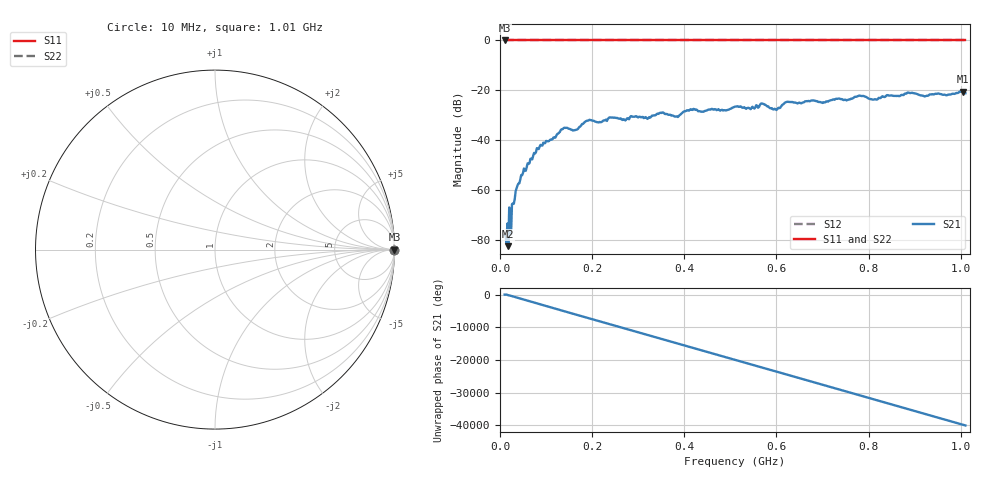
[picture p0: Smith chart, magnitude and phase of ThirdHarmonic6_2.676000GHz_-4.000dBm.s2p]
! 8/17/2025 6:15:27 AM
! C:\ANRITSUVNA\TEMP\TEMP.S2P
! CHANNEL.1
! TR.MEASUREMENT
! RAW.DATA
! RF.CORRECTION.OFF
! AVERAGING.OFF
! IF.BANDWIDTH: 5KHZ
! SWEEPTYPE:  FREQ.SWEEP(Linear)
! Reference Plane Port Info
! PORT:  PORT1  PORT2
! DISTANCE:  0  m  0  m
! TIME:  0  s  0  s
! PHASE.OFFSET:  0  deg.  0  deg.
! LOSS:  0  dB  0  dB
! REF.LOSS:  0  dB  0  dB
! REF.FREQ:  0  Hz  0  Hz
! Power Info
! POWER:  -20  dBm  -20  dBm
! EFF.POWER:  -20  dBm  -20  dBm
! SOURCE.ATTEN:  0  dB  0  dB
! TEST.ATTEN:  0  dB  0  dB
# GHZ S RI R 50.0
! FREQ.GHZ  S11RE  S11IM  S21RE  S21IM  S12RE  S12IM  S22RE  S22IM
!; PortSelection: Port_12
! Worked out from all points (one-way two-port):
!   501 points, 10 MHz to 1.01 GHz, reference 50 ohm
!   highest |S21| = -20.52 dB at 1.004 GHz (marker M1); lowest = -82.6 dB at 18 MHz (marker M2)
!   lowest |S11| = 0.0 dB at 10 MHz (marker M3)
!   |S11| at or under -10 dB: nowhere
!   |S22| runs from 0.0 to 0.0 dB; largest |S21 - S12| = 1.1
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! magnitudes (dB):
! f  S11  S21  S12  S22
! 10 MHz  0.0  -78.0  0.0  0.0
! 14 MHz  0.0  -81.3  0.0  0.0
! 18 MHz  0.0  -82.6  0.0  0.0
! 38 MHz  0.0  -58.2  0.0  0.0
! 50 MHz  0.0  -53.1  0.0  0.0
! 78 MHz  0.0  -44.9  0.0  0.0
! 136 MHz  0.0  -35.6  0.0  0.0
! 162 MHz  0.0  -36.1  0.0  0.0
! 178 MHz  0.0  -33.6  0.0  0.0
! 192 MHz  0.0  -32.1  0.0  0.0
! 322 MHz  0.0  -31.1  0.0  0.0
! 344 MHz  0.0  -29.5  0.0  0.0
! 384 MHz  0.0  -30.5  0.0  0.0
! 416 MHz  0.0  -27.8  0.0  0.0
! 510 MHz  0.0  -26.6  0.0  0.0
! 570 MHz  0.0  -25.4  0.0  0.0
! 598 MHz  0.0  -27.6  0.0  0.0
! 622 MHz  0.0  -24.7  0.0  0.0
! 678 MHz  0.0  -24.1  0.0  0.0
! 844 MHz  0.0  -22.1  0.0  0.0
! 1.004 GHz  0.0  -20.5  0.0  0.0
! 1.01 GHz  0.0  -21.2  0.0  0.0
